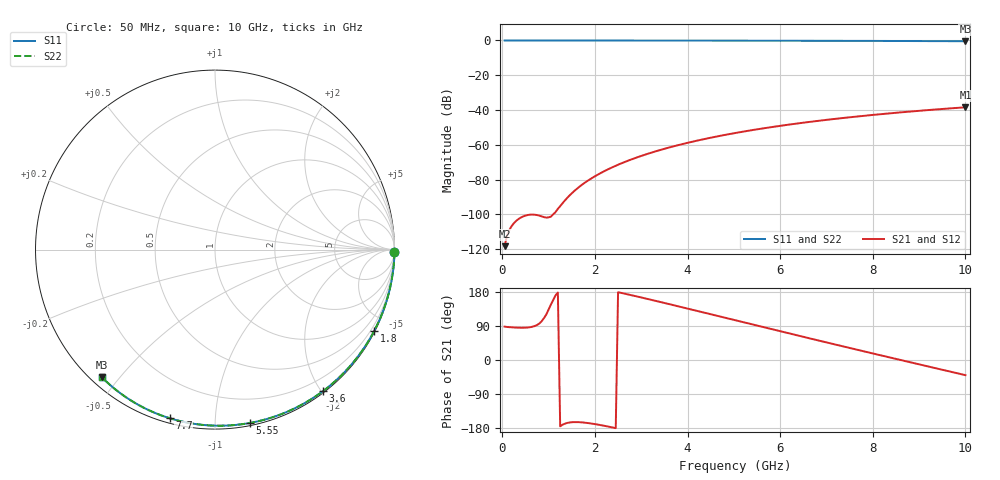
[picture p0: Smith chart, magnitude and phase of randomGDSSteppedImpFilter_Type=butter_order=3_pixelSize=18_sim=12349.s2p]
! freq	dB(S11)	phase(S11)	dB(S12)	phase(S12)
!  dB(S21)	phase(S21)	dB(S22)	phase(S22)
!S-par simulation data
#  GHz  S  DB  R 50
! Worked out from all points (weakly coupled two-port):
!   200 points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, 50 MHz to 10 GHz, reference 50 ohm
!   highest |S21| = -38.41 dB at 10 GHz (marker M1); lowest = -118.2 dB at 50 MHz (marker M2)
!   lowest |S11| = -0.4 dB at 10 GHz (marker M3), VSWR 39.34, Z = 1.53 - j22.5 ohm
!   |S11| at or under -10 dB: nowhere
!   |S22| runs from -0.4 to 0.0 dB; largest |S21 - S12| = 0
!   S11 on the Smith chart (normalised r, x): 50 MHz: open; 1.8 GHz: 0.04, -4.17; 3.6 GHz: 0.02, -2.02; 5.55 GHz: 0.02, -1.22; 7.7 GHz: 0.02, -0.77; 10 GHz: 0.03, -0.45
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0.05  -0.00 -0.8  -118.21 88.2  -118.21 88.2  -0.00 -0.8
0.9  -0.02 -13.6  -101.52 110.5  -101.52 110.5  -0.02 -13.6
1.75  -0.03 -26.2  -82.35 -165.0  -82.35 -165.0  -0.03 -26.2
1.8  -0.03 -26.9  -81.41 -165.6  -81.41 -165.6  -0.03 -26.9
1.85  -0.04 -27.7  -80.52 -166.4  -80.52 -166.4  -0.04 -27.7
1.9  -0.04 -28.4  -79.66 -167.2  -79.66 -167.2  -0.04 -28.4
2.05  -0.04 -30.6  -77.28 -170.2  -77.28 -170.2  -0.04 -30.6
2.25  -0.04 -33.5  -74.47 -174.8  -74.47 -174.8  -0.04 -33.5
2.45  -0.05 -36.4  -71.99 -179.8  -71.99 -179.8  -0.05 -36.4
2.65  -0.05 -39.3  -69.77 174.8  -69.77 174.8  -0.05 -39.3
3  -0.06 -44.3  -66.36 165.1  -66.36 165.1  -0.06 -44.3
3.4  -0.07 -49.9  -63.02 153.5  -63.02 153.5  -0.07 -49.9
3.6  -0.07 -52.7  -61.53 147.6  -61.53 147.6  -0.07 -52.7
4.3  -0.09 -62.3  -57.02 126.8  -57.02 126.8  -0.09 -62.3
5.05  -0.11 -72.2  -53.09 104.3  -53.09 104.3  -0.11 -72.2
5.55  -0.13 -78.7  -50.86 89.4  -50.86 89.4  -0.13 -78.7
6.1  -0.15 -85.6  -48.68 73.0  -48.68 73.0  -0.15 -85.6
6.7  -0.18 -93.1  -46.58 55.2  -46.58 55.2  -0.18 -93.1
7.7  -0.24 -105.1  -43.59 26.0  -43.59 26.0  -0.24 -105.1
8.35  -0.29 -112.7  -41.92 7.2  -41.92 7.2  -0.29 -112.7
9.15  -0.36 -121.8  -40.10 -15.7  -40.10 -15.7  -0.36 -121.8
10  -0.44 -131.4  -38.41 -40.0  -38.41 -40.0  -0.44 -131.4
